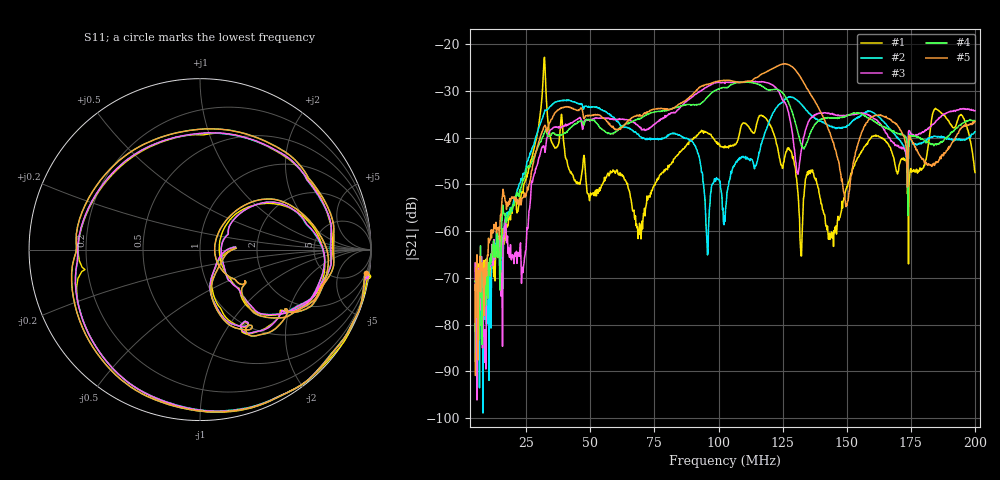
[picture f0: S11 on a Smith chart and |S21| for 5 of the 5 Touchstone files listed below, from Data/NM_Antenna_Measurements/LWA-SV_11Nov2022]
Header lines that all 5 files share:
!Keysight Technologies N9917A: A.12.46
!Timezone: (UTC) Coordinated Universal Time
!Model: N9917A
!Serial: MY56071016
!GPS Latitude:
!GPS Longitude:
!GPS TimeStamp: 0001-01-01 00:00:00Z
!GPS Seconds Since Last Read: 0
!Correction: S11(ON U)S21(ON U)S12(ON U)S22(ON U)
!S2P File: Measurements:S11,S21,S12,S22:
# Hz S DB R 50
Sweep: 5 MHz to 200 MHz
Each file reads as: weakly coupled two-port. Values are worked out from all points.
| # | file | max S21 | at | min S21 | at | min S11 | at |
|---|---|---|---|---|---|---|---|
| 1 | 92_10.Nov.2022.21.25.s2p | -22.77 dB | 32.1 MHz | -81.9 dB | 6.17 MHz | -19.0 dB | 122 MHz |
| 2 | 92XA_90YA_10.Nov.2022.22.32.s2p | -31.22 dB | 127.8 MHz | -98.9 dB | 8.12 MHz | -18.1 dB | 121.8 MHz |
| 3 | 92XA_90YB_10.Nov.2022.22.38.s2p | -27.93 dB | 112.1 MHz | -96.1 dB | 5.78 MHz | -18.3 dB | 194.9 MHz |
| 4 | 92XB_90YA_10.Nov.2022.22.48.s2p | -28.09 dB | 111.7 MHz | -84.2 dB | 7.73 MHz | -21.3 dB | 124 MHz |
| 5 | 92XB_90YB_10.Nov.2022.22.44.s2p | -24.17 dB | 125.7 MHz | -90.9 dB | 5.195 MHz | -21.3 dB | 124 MHz |
